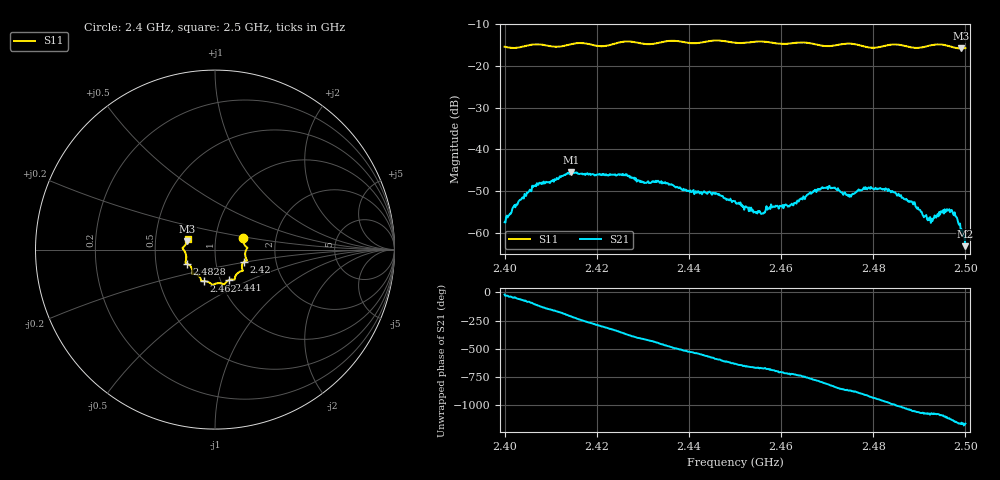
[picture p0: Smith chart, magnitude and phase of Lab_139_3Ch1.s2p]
# Hz S RI R 50
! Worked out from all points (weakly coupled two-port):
!   601 points, 2.4 GHz to 2.5 GHz, reference 50 ohm
!   highest |S21| = -45.47 dB at 2.4143 GHz (marker M1); lowest = -63.2 dB at 2.5 GHz (marker M2)
!   lowest |S11| = -15.8 dB at 2.499 GHz (marker M3), VSWR 1.39, Z = 36.5 + j3.5 ohm
!   |S11| at or under -10 dB: start of sweep to end of sweep
!   S12 and S22 are empty: the file has one direction only
!   S11 on the Smith chart (normalised r, x): 2.4 GHz: 1.36, +0.18; 2.42 GHz: 1.36, -0.20; 2.441 GHz: 1.10, -0.39; 2.462 GHz: 0.84, -0.30; 2.4828 GHz: 0.72, -0.12; 2.5 GHz: 0.73, +0.09
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2.4e9  0.1575 0.063  0.00127 -0.00042  0 0  0 0
2.4065e9  0.1805 0.011  -0.00102 -0.00349  0 0  0 0
2.414333e9  0.1741 -0.0516  -0.00449 0.00286  0 0  0 0
2.416667e9  0.178 -0.0599  -0.002 0.00468  0 0  0 0
2.42e9  0.1594 -0.0696  0.00158 0.00471  0 0  0 0
2.433333e9  0.1124 -0.1512  3.31e-05 -0.00419  0 0  0 0
2.441e9  0.0782 -0.1695  -0.00325 -0.000177  0 0  0 0
2.446e9  0.051 -0.1949  -0.00174 0.00236  0 0  0 0
2.45e9  0.0285 -0.1873  0.000257 0.00238  0 0  0 0
2.456e9  -0.0154 -0.1951  0.00125 0.00117  0 0  0 0
2.462e9  -0.0604 -0.1754  0.0021 -0.000468  0 0  0 0
2.466667e9  -0.0778 -0.1681  0.0019 -0.00233  0 0  0 0
2.470833e9  -0.103 -0.1393  -0.00116 -0.0032  0 0  0 0
2.474833e9  -0.1265 -0.1349  -0.0024 -0.00123  0 0  0 0
2.4785e9  -0.1276 -0.1099  -0.00323 0.000872  0 0  0 0
2.482833e9  -0.1575 -0.0775  -0.000811 0.00325  0 0  0 0
2.483333e9  -0.1606 -0.0761  -0.000411 0.00332  0 0  0 0
2.4885e9  -0.1601 -0.0433  0.00213 0.00091  0 0  0 0
2.492333e9  -0.1759 0.000385  0.00152 -0.000252  0 0  0 0
2.496667e9  -0.1701 0.0202  0.00118 -0.00131  0 0  0 0
2.499e9  -0.1547 0.0467  -4.94e-05 -0.00107  0 0  0 0
2.5e9  -0.1518 0.0613  1.65e-05 -0.00069  0 0  0 0
